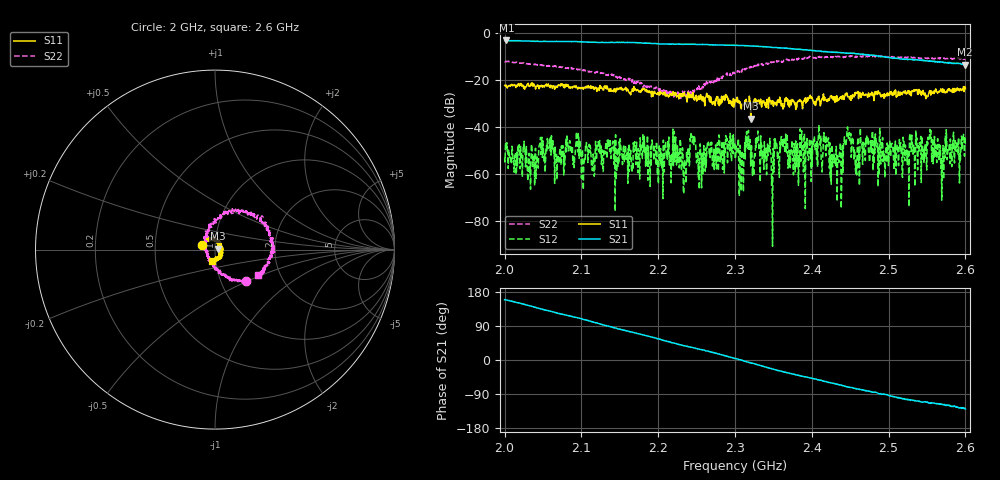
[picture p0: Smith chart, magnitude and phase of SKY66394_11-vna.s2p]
! created by azisi at Thu Oct 01 17:01:29 EEST 2020
! generated using vna/J Version 3.4.3
# Hz S DB R 50.0
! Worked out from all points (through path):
!   1014 points, 2 GHz to 2.6 GHz, reference 50 ohm
!   highest |S21| = -3.05 dB at 2.002 GHz (marker M1); lowest = -13.4 dB at 2.599 GHz (marker M2)
!   lowest |S11| = -36.3 dB at 2.32 GHz (marker M3), VSWR 1.03, Z = 51.4 + j0.548 ohm
!   |S11| at or under -10 dB: start of sweep to end of sweep
!   |S22| runs from -28.2 to -9.5 dB; largest |S21 - S12| = 0.71
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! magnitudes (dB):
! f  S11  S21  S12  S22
! 2 GHz  -22.2  -3.1  -53.0  -12.1
! 2.002 GHz  -22.8  -3.1  -49.4  -12.1
! 2.095 GHz  -23.7  -3.6  -50.6  -15.6
! 2.1 GHz  -23.4  -3.6  -61.7  -15.7
! 2.2 GHz  -26.2  -4.4  -64.1  -23.6
! 2.222 GHz  -25.7  -4.7  -48.7  -26.5
! 2.233 GHz  -26.1  -4.7  -68.3  -25.1
! 2.245 GHz  -26.4  -4.7  -46.6  -25.6
! 2.255 GHz  -26.1  -4.7  -51.4  -23.6
! 2.3 GHz  -28.2  -5.1  -53.5  -17.1
! 2.308 GHz  -32.1  -5.2  -67.2  -15.9
! 2.32 GHz  -36.3  -5.4  -56.5  -14.1
! 2.4 GHz  -27.7  -7.3  -56.7  -10.3
! 2.418 GHz  -28.3  -7.8  -52.2  -10.1
! 2.436 GHz  -27.8  -8.2  -51.3  -9.9
! 2.448 GHz  -27.0  -8.5  -44.8  -9.8
! 2.459 GHz  -25.1  -8.7  -49.9  -9.9
! 2.5 GHz  -25.5  -10.3  -50.9  -10.1
! 2.553 GHz  -24.5  -11.7  -44.5  -10.4
! 2.57 GHz  -23.6  -12.2  -56.6  -10.6
! 2.599 GHz  -22.8  -13.4  -43.9  -11.1
! 2.6 GHz  -23.7  -13.3  -47.2  -11.1
